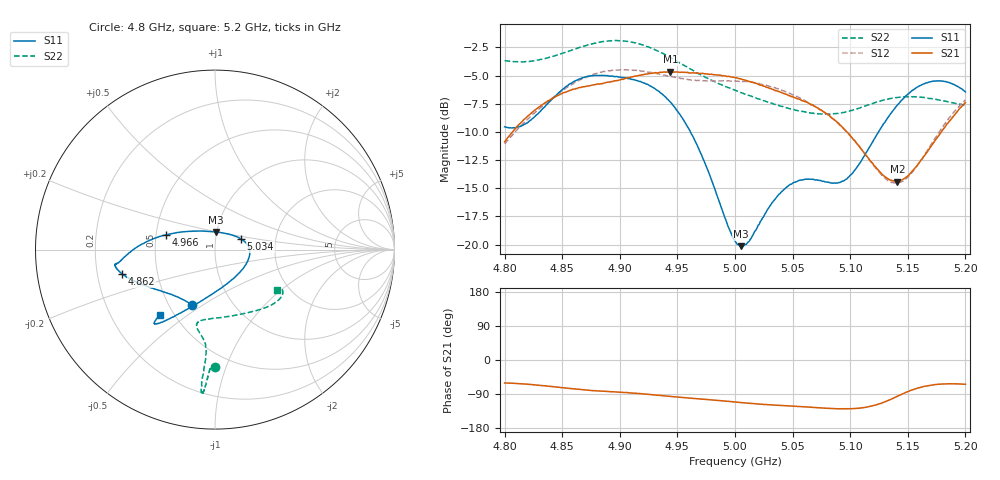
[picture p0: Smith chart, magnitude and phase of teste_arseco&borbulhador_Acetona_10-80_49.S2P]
! Network Analyzer HP8722D
! Hewlett-Packard
! Data name: Linha & Wilkinson
! Saver's name: Rodrigo Anjos
! Comments: Teste da utilização de aquisição
! continua pelo VNA HP8722D
! Time and date: 17/4/2025 14:46
!  Frequency  S11  S21  S12  S22
# HZ  S  MA R 50
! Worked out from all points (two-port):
!   401 points, 4.8 GHz to 5.2 GHz, reference 50 ohm
!   highest |S21| = -4.66 dB at 4.944 GHz (marker M1); lowest = -14.4 dB at 5.141 GHz (marker M2)
!   |S21| within 3 dB of the highest: 4.832 GHz to 5.068 GHz (236.4 MHz wide, 4.78 % of centre); 5.197573 GHz to end of sweep
!   lowest |S11| = -20.1 dB at 5.005 GHz (marker M3), VSWR 1.22, Z = 49.7 + j9.84 ohm
!   |S11| at or under -10 dB: 4.961 GHz to 5.125 GHz (163.3 MHz wide, 3.24 % of centre)
!   |S22| runs from -8.4 to -1.9 dB; largest |S21 - S12| = 0.88
!   S11 on the Smith chart (normalised r, x): 4.8 GHz: 0.65, -0.45; 4.862 GHz: 0.31, -0.12; 4.966 GHz: 0.57, +0.10; 5.034 GHz: 1.33, +0.16; 5.2 GHz: 0.42, -0.39
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4.8e9  0.3332 -113.0  0.2858 -60.7  0.2796 -174.9  0.6556 -90.0
4.819e9  0.3457 -132.9  0.3669 -63.8  0.3559 -173.4  0.6499 -91.5
4.862e9  0.5348 -165.3  0.4927 -76.8  0.528 -176.6  0.741 -93.7
4.867e9  0.5478 -167.3  0.5005 -78.3  0.5437 -177.5  0.7552 -93.8
4.898e9  0.5562 -171.9  0.5354 -84.4  0.5949 176.1  0.8044 -95.0
4.934e9  0.4787 -177.9  0.58 -93.4  0.5721 172.1  0.7181 -95.6
4.944e9  0.4289 177.5  0.5848 -96.1  0.5578 172.0  0.6767 -95.3
4.966e9  0.2839 163.0  0.5772 -101.8  0.5358 174.0  0.5816 -94.9
5e9  0.1038 103.3  0.5517 -110.9  0.5326 176.2  0.4839 -99.1
5.005e9  0.09831 86.2  0.5437 -112.3  0.5296 176.4  0.4729 -100.3
5.012e9  0.1031 63.2  0.5301 -114.1  0.5261 176.1  0.4595 -101.9
5.034e9  0.1571 22.3  0.4854 -118.9  0.4979 175.1  0.4195 -103.5
5.049e9  0.1853 6.7  0.4529 -121.4  0.4654 174.4  0.3992 -100.2
5.067e9  0.195 -12.3  0.4173 -124.8  0.418 173.8  0.383 -91.1
5.087e9  0.1872 -44.5  0.3551 -128.8  0.3536 173.7  0.3811 -76.0
5.097e9  0.1954 -65.1  0.3166 -129.1  0.3161 174.4  0.3882 -67.6
5.134e9  0.3737 -115.9  0.1943 -105.5  0.1908 -158.3  0.444 -42.9
5.141e9  0.4165 -119.8  0.1903 -95.6  0.188 -147.3  0.4496 -39.9
5.152e9  0.474 -124.3  0.2064 -80.9  0.2036 -130.3  0.4531 -36.0
5.17e9  0.5283 -128.4  0.2716 -66.6  0.2773 -112.7  0.4448 -31.8
5.184e9  0.5267 -129.8  0.343 -63.0  0.3538 -107.2  0.4314 -30.8
5.2e9  0.476 -130.3  0.4271 -64.0  0.4388 -106.2  0.4147 -33.2
